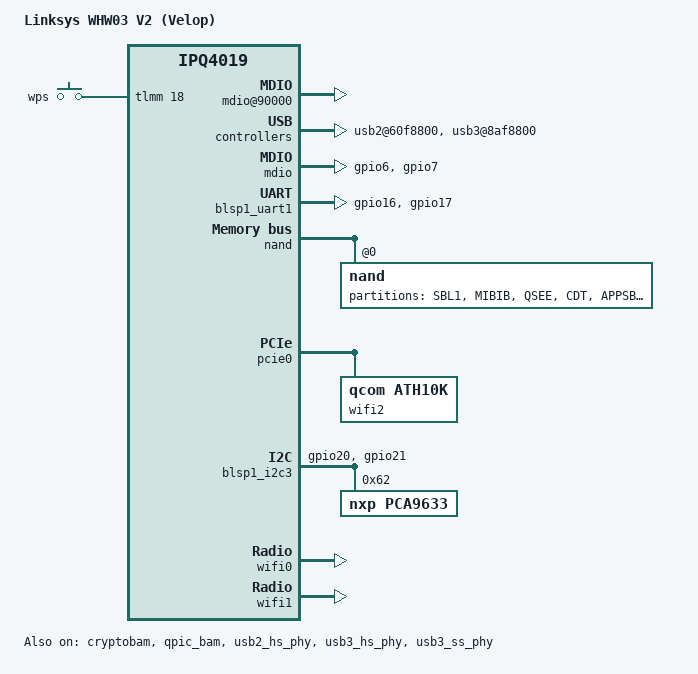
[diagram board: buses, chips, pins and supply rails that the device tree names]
// SPDX-License-Identifier: GPL-2.0-or-later OR MIT

/*
 * Device Tree Source for Linksys WHW03 V2 (Velop)
 *
 * Copyright (C) 2021 Andreas Calvo <flipy.bcn@gmail.com>
 *
 */

/dts-v1/;

#include "qcom-ipq4019.dtsi"
#include <dt-bindings/gpio/gpio.h>
#include <dt-bindings/input/input.h>
#include <dt-bindings/soc/qcom,tcsr.h>

/ {
	model = "Linksys WHW03 V2 (Velop)";
	compatible = "linksys,whw03v2", "qcom,ipq4019";

	aliases {
		led-boot = &led_blue;
		led-failsafe = &led_red;
		led-running = &led_green;
		led-upgrade = &led_red;
        serial0 = &blsp1_uart1;
	};


	keys {
		compatible = "gpio-keys";

		button@1 {
			label = "wps";
			linux,code = <KEY_WPS_BUTTON>;
			gpios = <&tlmm 18 GPIO_ACTIVE_HIGH>;
		};
	};


	//
	// OEM U-Boot provides either
	// init=/sbin/init rootfstype=ubifs ubi.mtd=rootfs root=ubi0:ubifs rootwait rw
	// or the same with ubi.mtd=alt_rootfs
	//

	chosen {
		bootargs-append = " root=/dev/ubiblock0_0 rootfstype=squashfs ro";
	};


	soc {
		rng@22000 {
			status = "okay";
		};

		mdio@90000 {
			status = "okay";
		};

		ess-psgmii@98000 {
			status = "okay";
			resets = <&gcc ESS_PSGMII_ARES>;
        	reset-names = "psgmii_rst";
		};

		/*counter@4a1000 {
			compatible = "qcom,qca-gcnt";
			reg = <0x4a1000 0x4>;
		};*/


		tcsr@1949000 {
			compatible = "qcom,tcsr";
			reg = <0x1949000 0x100>;
			qcom,wifi_glb_cfg = <TCSR_WIFI_GLB_CFG>;
		};

		tcsr@194b000 {
			compatible = "qcom,tcsr";
			reg = <0x194b000 0x100>;
			qcom,usb-hsphy-mode-select = <TCSR_USB_HSPHY_HOST_MODE>;
		};

		ess_tcsr@1953000 {
			compatible = "qcom,tcsr";
			reg = <0x1953000 0x1000>;
			qcom,ess-interface-select = <TCSR_ESS_PSGMII>;
		};

		tcsr@1957000 {
			compatible = "qcom,tcsr";
			reg = <0x1957000 0x100>;
			qcom,wifi_noc_memtype_m0_m2 = <TCSR_WIFI_NOC_MEMTYPE_M0_M2>;
		};

		usb2@60f8800 {
			status = "okay";
		};

		usb3@8af8800 {
			status = "okay";
		};

		crypto@8e3a000 {
			status = "okay";
		};

		watchdog@b017000 {
			status = "okay";
		};

		ess-switch@c000000 {
			status = "okay";
		};

		edma@c080000 {
			status = "okay";
		};
	};
};

&tlmm {
	mdio_pins: mdio_pinmux {
		mux_1 {
			pins = "gpio6";
			function = "mdio";
			bias-pull-up;
		};
		mux_2 {
			pins = "gpio7";
			function = "mdc";
			bias-pull-up;
		};

		/*pin_rst {
			pins = "gpio19";
			function = "gpio";
			bias-disable;
			output-high;
		};*/
	};

	i2c_0_pins: i2c_0_pinmux {
		pinmux {
			function = "blsp_i2c0";
			pins = "gpio20", "gpio21";
			bias-disable;
		};
	};

	serial_0_pins: serial0_pinmux {
		pins = "gpio16", "gpio17";
		function = "blsp_uart0";
		bias-disable;
	};

	serial_1_pins: serial1_pinmux {
		pins = "gpio8", "gpio9";
		function = "blsp_uart1";
		bias-disable;
	};

	uart_1_pins: uart1_pinmux {
		mux {
			pins = "gpio8", "gpio9", "gpio10", "gpio11";
			function = "blsp_uart1";
			bias-disable;
		};
	};

	spi_0_pins: spi_0_pinmux {
		mux {
			pins = "gpio12", "gpio13", "gpio14", "gpio15";
			function = "blsp_spi0";
			bias-disable;
		};
	};
	
	spi_1_pins: spi_1_pinmux {
		mux {
			pins = "gpio44", "gpio46", "gpio47";
			function = "blsp_spi1";
			bias-disable;
		};
		host_int {
			pins = "gpio42";
			function = "gpio";
			input;
		};
		cs {
			pins = "gpio45";
			function = "gpio";
			bias-pull-up;
		};
		wake {
			pins = "gpio31";
			function = "gpio";
			output-high;
		};
		reset {
            pins = "gpio49";
            function = "gpio";
            output-high;
        };
	};
	
	wifi1_pins {
        mux_1 {
            pins = "gpio37";
            output-high;
            function = "wcss0_dbg16";
            bias-pull-up;
            drive-strength = <0x06>;
        };

        mux_2 {
            pins = "gpio43";
            function = "wifi_wci1";
            bias-pull-up;
            drive-strength = <0x06>;
        };

        mux_3 {
            pins = "gpio52";
            output-high;
            function = "gpio";
            bias-pull-up;
            drive-strength = <0x06>;
        };
    };
};

&mdio {
	status = "ok";
	pinctrl-0 = <&mdio_pins>;
	pinctrl-names = "default";
	qcom,mdio_offset = <0x18>;
	qcom,mdio_offset_limit = <0x5>;
	//reset-gpios = <&tlmm 19 GPIO_ACTIVE_LOW>;
	phy-reset-gpio = <&tlmm 19 GPIO_ACTIVE_LOW>;
};

&blsp_dma {
	status = "okay";
};

&blsp1_uart1 {
	status = "okay";
	pinctrl-0 = <&serial_0_pins>;
	pinctrl-names = "default";

};

/*&blsp1_uart2 {
	status = "okay";
	pinctrl-0 = <&serial_1_pins>;
	pinctrl-1 = <&serial_1_pins>;
	pinctrl-names = "default", "sleep";

};*/

&cryptobam {
	status = "okay";
};

/*&blsp1_spi1 {
    pinctrl-0 = <&spi_0_pins>;
    pinctrl-names = "default";
    status = "okay";
    m25p80@0 {
        #address-cells = <0x1>;
        #size-cells = <0x1>;
        reg = <0x0>;
        compatible = "n25q128a11";
        linux,modalias = "m25p80", "n25q128a11";
        spi-max-frequency = <0x16e3600>;
        use-default-sizes;
        };
};

&blsp1_spi2 {
    pinctrl-0 = <&spi_1_pins>;
    pinctrl-names = "default";
    status = "okay";
    em358x@0 {
        compatible = "spidev";
        reg = <0x00>;
        spi-max-frequency = <0xb71b00>;
    };
};*/

&nand {
	status = "okay";

	nand@0 {
		partitions {
			compatible = "fixed-partitions";
			#address-cells = <1>;
			#size-cells = <1>;

			partition@0 {
				label = "SBL1";
				reg = <0x0 0x100000>;
				read-only;
			};

			partition@100000 {
				label = "MIBIB";
				reg = <0x100000 0x100000>;
				read-only;
			};

			partition@200000 {
				label = "QSEE";
				reg = <0x200000 0x100000>;
				read-only;
			};

			partition@300000 {
				label = "CDT";
				reg = <0x300000 0x80000>;
				read-only;
			};

			partition@380000 {
				label = "APPSBL";
				reg = <0x380000 0x200000>;
				read-only;
			};

			partition@580000 {
				label = "ART";
				reg = <0x580000 0x80000>;
				read-only;
			};

			partition@600000 {
				label = "u_env";
				reg = <0x600000 0x80000>;
				// writable -- U-Boot environment
			};

			partition@680000 {
				label = "s_env";
				reg = <0x680000 0x40000>;
				// writable -- Boot counter records
			};

			partition@6c0000 {
				label = "devinfo";
				reg = <0x6c0000 0x40000>;
				read-only;
			};

			partition@700000 {
				label = "kernel";
				reg = <0x700000 0xa100000>;
			};

			partition@d00000 {
				label = "rootfs";
				reg = <0xd00000 0x9b00000>;
			};

			partition@a800000 {
				label = "alt_kernel";
				reg = <0xa800000 0xa100000>;
			};

			partition@ae00000 {
				label = "alt_rootfs";
				reg = <0xae00000 0x9b00000>;
			};

			partition@14900000 {
				label = "sysdiag";
				reg = <0x14900000 0x200000>;
				read-only;
			};

			partition@14b00000 {
				label = "syscfg";
				reg = <0x14b00000 0xb500000>;
				read-only;
			};
		};
	};
};

&pcie0 {
	status = "okay";

	perst-gpio = <&tlmm 38 GPIO_ACTIVE_LOW>;
	wake-gpio = <&tlmm 40 GPIO_ACTIVE_LOW>;
	//clkreq-gpio = <&tlmm 39 GPIO_ACTIVE_LOW>;

	bridge@0,0 {
		reg = <0x00000000 0 0 0 0>;
		#address-cells = <3>;
		#size-cells = <2>;
		ranges;

		wifi2: wifi@1,0 {
			compatible = "qcom,ath10k";
			reg = <0x00010000 0 0 0 0>;
		};
	};
};

&qpic_bam {
	status = "okay";
};


&blsp1_i2c3 {
	pinctrl-0 = <&i2c_0_pins>;
	pinctrl-names = "default";

	status = "okay";

	pca9633@62 {
		compatible = "nxp,pca9633";
		#address-cells = <1>;
		#size-cells = <0>;
		reg = <98>;
		nxp,hw-blink;
		led_red: red@0 {
			label = "whw03v2:red:power";
			reg = <0>;
		};
		led_green: green@1 {
			label = "whw03v2:green:power";
			reg = <1>;
		};
		led_blue: blue@2 {
			label = "whw03v2:blue:power";
			reg = <2>;
		};
		led_unusued: unused@3 {
			label = "whw03v2:unused:power";
			reg = <3>;
		};
	};
};

&usb2_hs_phy {
	status = "okay";
};

&usb3_hs_phy {
	status = "okay";
};

&usb3_ss_phy {
	status = "okay";
};

&wifi0 {
	status = "okay";
	qcom,ath10k-calibration-variant = "linksys-whw03v2-fcc";
};

&wifi1 {
	status = "okay";
	ieee80211-freq-limit = <5170000 5330000>;
	qcom,ath10k-calibration-variant = "linksys-whw03v2-fcc";
};

&wifi2 {
	status = "okay";
	ieee80211-freq-limit = <5490000 5835000>;
	qcom,ath10k-calibration-variant = "linksys-whw03v2-fcc";
};
